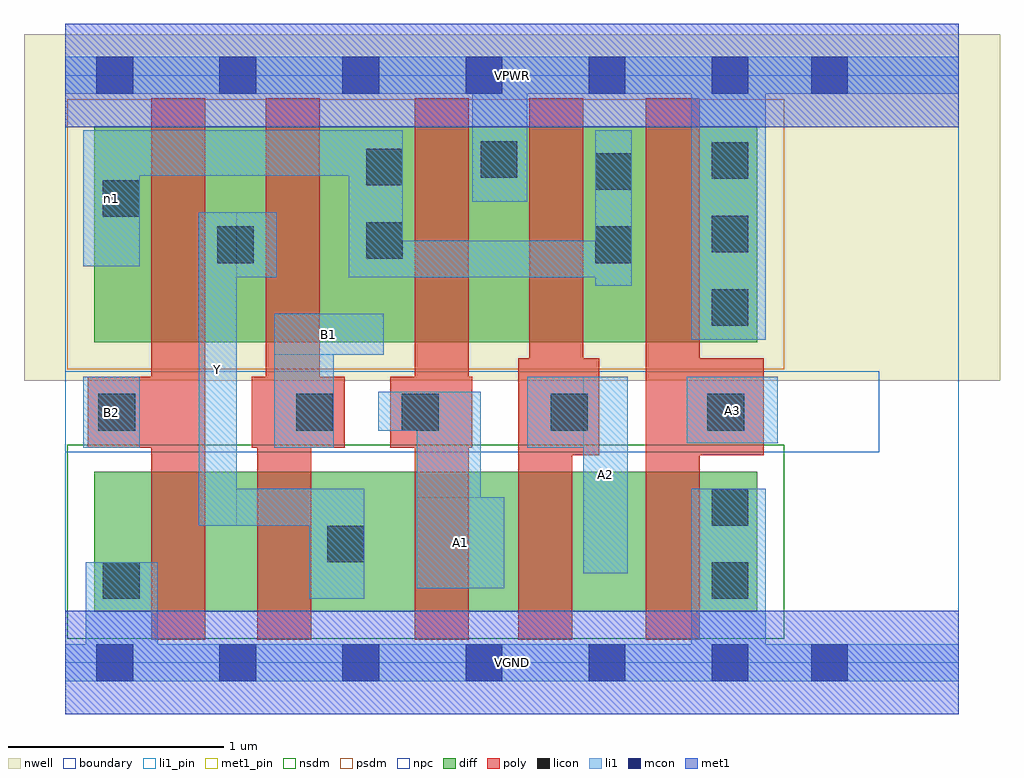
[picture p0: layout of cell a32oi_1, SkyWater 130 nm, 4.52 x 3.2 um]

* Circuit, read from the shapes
.subckt a32oi_1 A1 A2 A3 B1 B2 VGND VPWR Y n1
XM1 n2 B2 VGND VSUBS sky130_fd_pr__nfet_01v8 w=0.65 l=0.25
XM2 Y B1 n2 VSUBS sky130_fd_pr__nfet_01v8 w=0.65 l=0.25
XM3 n3 A1 Y VSUBS sky130_fd_pr__nfet_01v8 w=0.65 l=0.25
XM4 n4 A2 n3 VSUBS sky130_fd_pr__nfet_01v8 w=0.65 l=0.25
XM5 VGND A3 n4 VSUBS sky130_fd_pr__nfet_01v8 w=0.65 l=0.25
XM6 Y B2 n1 n5 sky130_fd_pr__pfet_01v8 w=1 l=0.25
XM7 n1 B1 Y n5 sky130_fd_pr__pfet_01v8 w=1 l=0.25
XM8 VPWR A1 n1 n5 sky130_fd_pr__pfet_01v8 w=1 l=0.25
XM9 n1 A2 VPWR n5 sky130_fd_pr__pfet_01v8 w=1 l=0.25
XM10 VPWR A3 n1 n5 sky130_fd_pr__pfet_01v8 w=1 l=0.25
.ends

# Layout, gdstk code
import gdstk
lib = gdstk.Library(unit=1e-6, precision=1e-09)
def R(c, l, rs):  # rectangles x0, y0, x1, y1
    for r in rs: c.add(gdstk.rectangle(r[:2], r[2:], *l))
def A(c, l, x, y, w, h, nx, ny, dx, dy):  # array of equal rectangles
    R(c, l, [(x+i*dx, y+j*dy, x+i*dx+w, y+j*dy+h) for i in range(nx) for j in range(ny)])
nwell = (64, 20)
diff = (65, 20)
poly = (66, 20)
licon = (66, 44)
li1_pin = (67, 16)
li1 = (67, 20)
mcon = (67, 44)
met1_pin = (68, 16)
met1 = (68, 20)
nsdm = (93, 44)
psdm = (94, 20)
npc = (95, 20)
boundary = (235, 4)

a32oi_1 = lib.new_cell('a32oi_1')
R(a32oi_1, nwell, [(-0.19,1.305,4.33,2.91), (0,1.305,4.14,2.91)])
R(a32oi_1, diff, [(0.135,0.235,3.205,0.885), (0.135,1.485,3.205,2.485)])
R(a32oi_1, poly, [(0.4,0.105,0.65,2.615), (0.89,0.105,1.14,1.325), (1.62,0.105,1.87,2.615), (2.1,0.105,2.35,1.41), (2.69,0.105,2.94,2.615), (2.1,0.96,2.475,1.41), (2.15,0.96,2.4,2.615), (2.69,0.96,3.235,1.41), (0.105,0.995,0.65,1.325), (0.865,0.995,1.295,1.325), (0.93,0.995,1.18,2.615), (1.505,0.995,1.885,1.325)])
A(a32oi_1, licon, 2.995, 1.56, 0.17, 0.17, 1, 3, 0, 0.34)
R(a32oi_1, licon, [(0.175,0.295,0.345,0.465), (2.995,0.295,3.165,0.465), (1.215,0.465,1.385,0.635), (2.995,0.635,3.165,0.805), (0.155,1.075,0.325,1.245), (1.07,1.075,1.24,1.245), (1.56,1.075,1.73,1.245), (2.25,1.075,2.42,1.245), (2.975,1.075,3.145,1.245), (0.705,1.85,0.875,2.02), (2.455,1.85,2.625,2.02), (1.395,1.87,1.565,2.04), (0.175,2.065,0.345,2.235), (2.455,2.19,2.625,2.36), (1.395,2.21,1.565,2.38), (1.925,2.245,2.095,2.415)])
R(a32oi_1, li1_pin, [(1.63,0.345,2.035,0.765), (2.4,0.415,2.605,1.325), (0.62,0.635,0.795,2.085), (0.085,0.995,0.345,1.325), (2.88,1.015,3.3,1.325), (0.97,1.425,1.475,1.615)])
R(a32oi_1, li1, [(0,-0.085,4.14,0.085), (0.095,-0.085,0.43,0.465), (2.9,-0.085,3.245,0.805), (1.13,0.295,1.385,0.805), (1.63,0.345,1.925,1.255), (1.63,0.345,2.035,0.765), (2.4,0.415,2.605,1.325), (0.62,0.635,0.795,2.085), (0.62,0.635,1.385,0.805), (0.085,0.995,0.345,1.325), (0.97,0.995,1.245,1.615), (2.14,0.995,2.605,1.325), (2.88,1.015,3.3,1.325), (1.45,1.075,1.925,1.255), (0.97,1.425,1.475,1.615), (2.9,1.495,3.245,2.805), (2.455,1.745,2.625,2.465), (0.62,1.785,0.98,2.085), (1.315,1.785,2.625,1.955), (1.315,1.785,1.565,2.465), (0.085,1.835,0.345,2.465), (1.885,2.135,2.14,2.805), (0.085,2.255,1.565,2.465), (0,2.635,4.14,2.805)])
A(a32oi_1, mcon, 0.145, -0.085, 0.17, 0.17, 6, 2, 0.57, 2.72)
R(a32oi_1, mcon, [(3.455,-0.085,3.625,0.085), (3.455,2.635,3.625,2.805)])
R(a32oi_1, met1_pin, [(0,-0.24,4.14,0.24), (0,2.48,4.14,2.96)])
R(a32oi_1, met1, [(0,-0.24,4.14,0.24), (0,2.48,4.14,2.96)])
R(a32oi_1, nsdm, [(0.01,0.11,3.33,1.01)])
R(a32oi_1, psdm, [(0.01,1.36,3.33,2.61)])
R(a32oi_1, npc, [(0,0.975,3.77,1.35)])
R(a32oi_1, boundary, [(0,0,4.14,2.72)])
a32oi_1.add(gdstk.Label('A1', (1.832,0.555), layer=67, texttype=5))
a32oi_1.add(gdstk.Label('A2', (2.502,0.87), layer=67, texttype=5))
a32oi_1.add(gdstk.Label('A3', (3.09,1.17), layer=67, texttype=5))
a32oi_1.add(gdstk.Label('B1', (1.222,1.52), layer=67, texttype=5))
a32oi_1.add(gdstk.Label('B2', (0.215,1.16), layer=67, texttype=5))
a32oi_1.add(gdstk.Label('Y', (0.707,1.36), layer=67, texttype=5))
a32oi_1.add(gdstk.Label('n1', (0.215,2.15), layer=67, texttype=5))
a32oi_1.add(gdstk.Label('VPWR', (2.07,2.72), layer=68, texttype=5))
a32oi_1.add(gdstk.Label('VGND', (2.07,0), layer=68, texttype=5))
a32oi_1.add(gdstk.Label('A1', (1.832,0.555), layer=67, texttype=16))
a32oi_1.add(gdstk.Label('A2', (2.502,0.87), layer=67, texttype=16))
a32oi_1.add(gdstk.Label('A3', (3.09,1.17), layer=67, texttype=16))
a32oi_1.add(gdstk.Label('B1', (1.222,1.52), layer=67, texttype=16))
a32oi_1.add(gdstk.Label('B2', (0.215,1.16), layer=67, texttype=16))
a32oi_1.add(gdstk.Label('Y', (0.707,1.36), layer=67, texttype=16))
a32oi_1.add(gdstk.Label('VPWR', (2.07,2.72), layer=68, texttype=16))
a32oi_1.add(gdstk.Label('VGND', (2.07,0), layer=68, texttype=16))

lib.write_gds('a32oi_1.gds')
